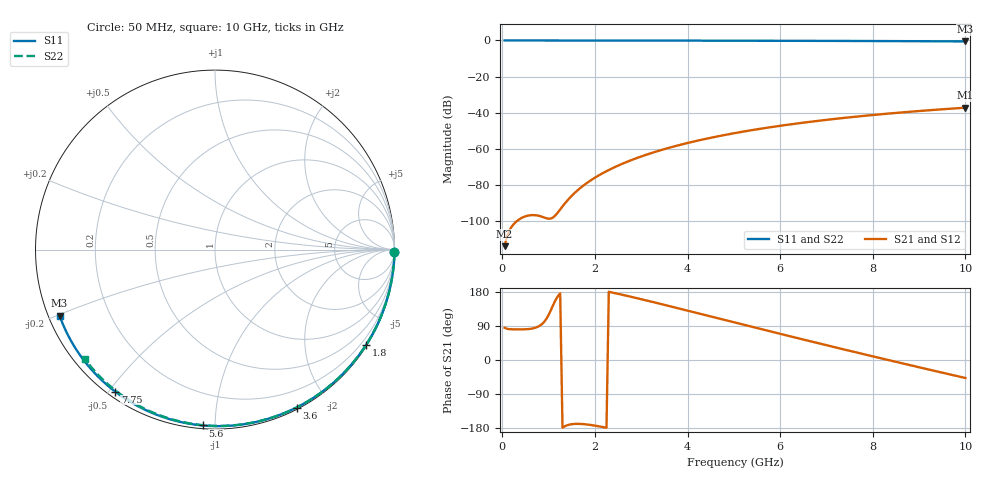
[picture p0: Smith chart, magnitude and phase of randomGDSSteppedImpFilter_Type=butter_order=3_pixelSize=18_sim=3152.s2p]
! freq	dB(S11)	phase(S11)	dB(S12)	phase(S12)
!  dB(S21)	phase(S21)	dB(S22)	phase(S22)
!S-par simulation data
#  GHz  S  DB  R 50
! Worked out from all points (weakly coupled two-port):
!   200 points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, 50 MHz to 10 GHz, reference 50 ohm
!   highest |S21| = -37.22 dB at 10 GHz (marker M1); lowest = -113.9 dB at 50 MHz (marker M2)
!   lowest |S11| = -0.5 dB at 10 GHz (marker M3), VSWR 32.86, Z = 1.58 - j10.2 ohm
!   |S11| at or under -10 dB: nowhere
!   |S22| runs from -0.5 to 0.0 dB; largest |S21 - S12| = 0
!   S11 on the Smith chart (normalised r, x): 50 MHz: open; 1.8 GHz: 0.03, -3.46; 3.6 GHz: 0.02, -1.64; 5.6 GHz: 0.02, -0.93; 7.75 GHz: 0.02, -0.52; 10 GHz: 0.03, -0.20
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0.05  -0.00 -0.9  -113.87 85.2  -113.87 85.2  -0.00 -0.8
0.45  -0.01 -8.2  -97.84 80.9  -97.84 80.9  -0.01 -7.3
0.9  -0.02 -16.3  -97.96 100.0  -97.96 100.0  -0.02 -14.5
1.3  -0.03 -23.4  -91.86 -178.7  -91.86 -178.7  -0.03 -20.9
1.75  -0.04 -31.3  -80.35 -169.2  -80.35 -169.2  -0.04 -28.0
1.8  -0.04 -32.2  -79.39 -169.8  -79.39 -169.8  -0.04 -28.7
1.95  -0.04 -34.8  -76.77 -172.2  -76.77 -172.2  -0.04 -31.1
2.1  -0.05 -37.4  -74.44 -175.3  -74.44 -175.3  -0.04 -33.4
2.3  -0.05 -40.9  -71.70 179.9  -71.70 179.9  -0.05 -36.5
2.5  -0.06 -44.3  -69.28 174.7  -69.28 174.7  -0.05 -39.6
2.9  -0.07 -51.1  -65.13 163.4  -65.13 163.4  -0.06 -45.7
3.4  -0.08 -59.4  -60.90 148.6  -60.90 148.6  -0.07 -53.2
3.6  -0.08 -62.7  -59.42 142.5  -59.42 142.5  -0.08 -56.1
4.3  -0.11 -74.0  -54.98 121.1  -54.98 121.1  -0.09 -66.3
5.05  -0.13 -85.6  -51.14 98.0  -51.14 98.0  -0.12 -76.9
5.6  -0.16 -94.0  -48.77 81.2  -48.77 81.2  -0.14 -84.4
6.15  -0.18 -102.1  -46.70 64.5  -46.70 64.5  -0.16 -91.8
6.7  -0.22 -110.2  -44.86 48.0  -44.86 48.0  -0.19 -99.0
7.75  -0.29 -125.1  -41.89 16.9  -41.89 16.9  -0.26 -112.4
8.35  -0.34 -133.6  -40.45 -0.5  -40.45 -0.5  -0.31 -119.8
9.2  -0.43 -145.6  -38.66 -24.9  -38.66 -24.9  -0.39 -130.3
10  -0.53 -157.0  -37.22 -47.5  -37.22 -47.5  -0.47 -140.1
